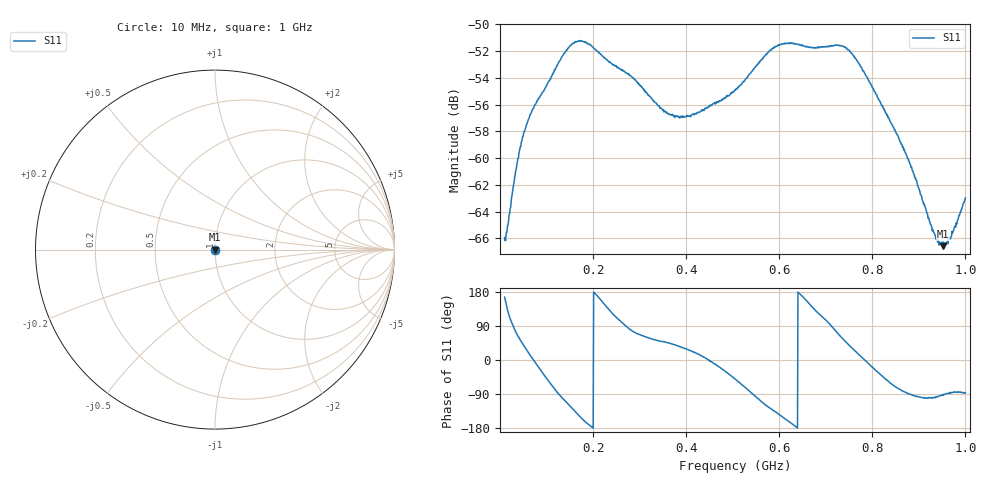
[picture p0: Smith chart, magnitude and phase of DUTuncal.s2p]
! PocketVna 1.57  pocketvna.com
! Live measurements ((Reflection-S11) Linear 10000000-1000000000/1000 non-calibrated)
# Hz S RI R 50
! Hz  ReS11  ImS11  ReS21  ImS21  ReS12  ImS12  ReS22  ImS22
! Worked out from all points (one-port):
!   1000 points, 10 MHz to 1 GHz, reference 50 ohm
!   lowest |S11| = -66.6 dB at 952.4 MHz (marker M1), VSWR 1.00, Z = 50 - j0.0469 ohm
!   |S11| at or under -10 dB: start of sweep to end of sweep
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1e7  -0.00048 0.00012  0 0  0 0  0 0
1.693694e7  -0.000352 0.000439  0 0  0 0  0 0
4.072072e7  0.000532 0.000895  0 0  0 0  0 0
6.153153e7  0.00133 0.000444  0 0  0 0  0 0
1.368468e8  -0.000584 -0.00238  0 0  0 0  0 0
1.566667e8  -0.00171 -0.00207  0 0  0 0  0 0
1.754955e8  -0.00246 -0.00121  0 0  0 0  0 0
2.825225e8  0.000406 0.00198  0 0  0 0  0 0
3.40991e8  0.000997 0.00121  0 0  0 0  0 0
3.707207e8  0.00108 0.000977  0 0  0 0  0 0
4.044144e8  0.00128 0.000651  0 0  0 0  0 0
5.054955e8  0.00115 -0.0014  0 0  0 0  0 0
5.946847e8  -0.00198 -0.00172  0 0  0 0  0 0
6.70991e8  -0.00197 0.00168  0 0  0 0  0 0
7.463063e8  0.00185 0.00177  0 0  0 0  0 0
7.730631e8  0.00218 0.000457  0 0  0 0  0 0
8.354955e8  0.000759 -0.00119  0 0  0 0  0 0
8.830631e8  -2.44e-05 -0.000925  0 0  0 0  0 0
9.336036e8  -8.36e-05 -0.000516  0 0  0 0  0 0
9.524324e8  -7.62e-06 -0.000469  0 0  0 0  0 0
9.712613e8  4.04e-05 -0.000531  0 0  0 0  0 0
1e9  3.7e-05 -0.000709  0 0  0 0  0 0
